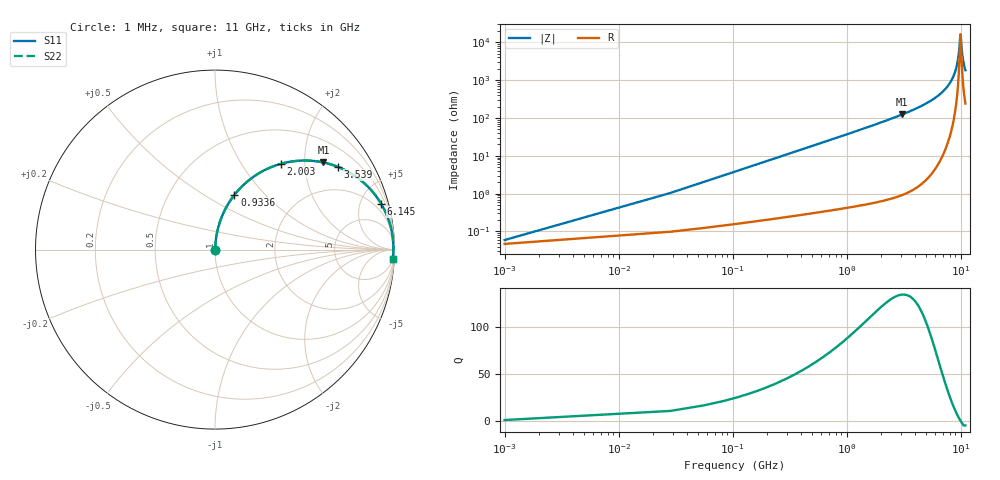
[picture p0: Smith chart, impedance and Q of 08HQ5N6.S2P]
! Coilcraft 0805HQ-5N6 Chip Inductor
! 19 June 2002
# MHZ S MA R 50
!Freq  MagS11  AngS11  MagS21  AngS21  MagS12  AngS12  MagS22  AngS22
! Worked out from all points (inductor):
!   402 points, 1 MHz to 11 GHz, reference 50 ohm
!   read as one part in series: L = 5.8 nH near 55.86 MHz
!   highest Q = 135 at 3.073 GHz (marker M1), where L = 6.41 nH
!   self-resonance near 9.958 GHz
!   S11 on the Smith chart (normalised r, x): 1 MHz: 1.00, +0.00; 933.6 MHz: 1.01, +0.69; 2.003 GHz: 1.01, +1.52; 3.539 GHz: 1.02, +2.95; 6.145 GHz: 1.10, +7.23; 11 GHz: 6, -36
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1  0.0005937 37.8  0.9995 -0.0  0.9995 -0.0  0.0005937 37.8
83.29  0.03033 85.6  0.9981 -1.7  0.9981 -1.7  0.03033 85.6
138.15  0.05023 85.1  0.997 -2.9  0.997 -2.9  0.05023 85.1
193.01  0.07008 84.4  0.9955 -4.0  0.9955 -4.0  0.07008 84.4
302.73  0.1095 82.5  0.9916 -6.3  0.9916 -6.3  0.1095 82.5
467.31  0.1678 79.4  0.9829 -9.7  0.9829 -9.7  0.1678 79.4
933.62  0.3235 70.4  0.9424 -18.9  0.9424 -18.9  0.3235 70.4
1838.81  0.5678 54.9  0.8184 -34.6  0.8184 -34.6  0.5678 54.9
2003.39  0.6031 52.4  0.7927 -37.1  0.7927 -37.1  0.6031 52.4
3073.16  0.775 38.8  0.6262 -50.8  0.6262 -50.8  0.775 38.8
3539.47  0.825 34.0  0.5589 -55.6  0.5589 -55.6  0.825 34.0
3676.62  0.8376 32.7  0.54 -56.9  0.54 -56.9  0.8376 32.7
5514.43  0.942 19.0  0.3252 -70.4  0.3252 -70.4  0.942 19.0
6145.32  0.9603 15.4  0.2657 -73.8  0.2657 -73.8  0.9603 15.4
7352.24  0.9817 9.6  0.1669 -78.9  0.1669 -78.9  0.9817 9.6
8449.44  0.991 5.2  0.09054 -81.7  0.09054 -81.7  0.991 5.2
9190.05  0.9935 2.5  0.04465 -80.4  0.04465 -80.4  0.9935 2.5
9574.07  0.9939 1.3  0.02264 -73.8  0.02264 -73.8  0.9939 1.3
9958.09  0.9938 0.0  0.006177 -3.3  0.006177 -3.3  0.9938 0.0
10012.95  0.9938 -0.2  0.006759 22.9  0.006759 22.9  0.9938 -0.2
10424.4  0.9931 -1.4  0.02554 73.6  0.02554 73.6  0.9931 -1.4
11000  0.9914 -3.1  0.05452 79.3  0.05452 79.3  0.9914 -3.1
